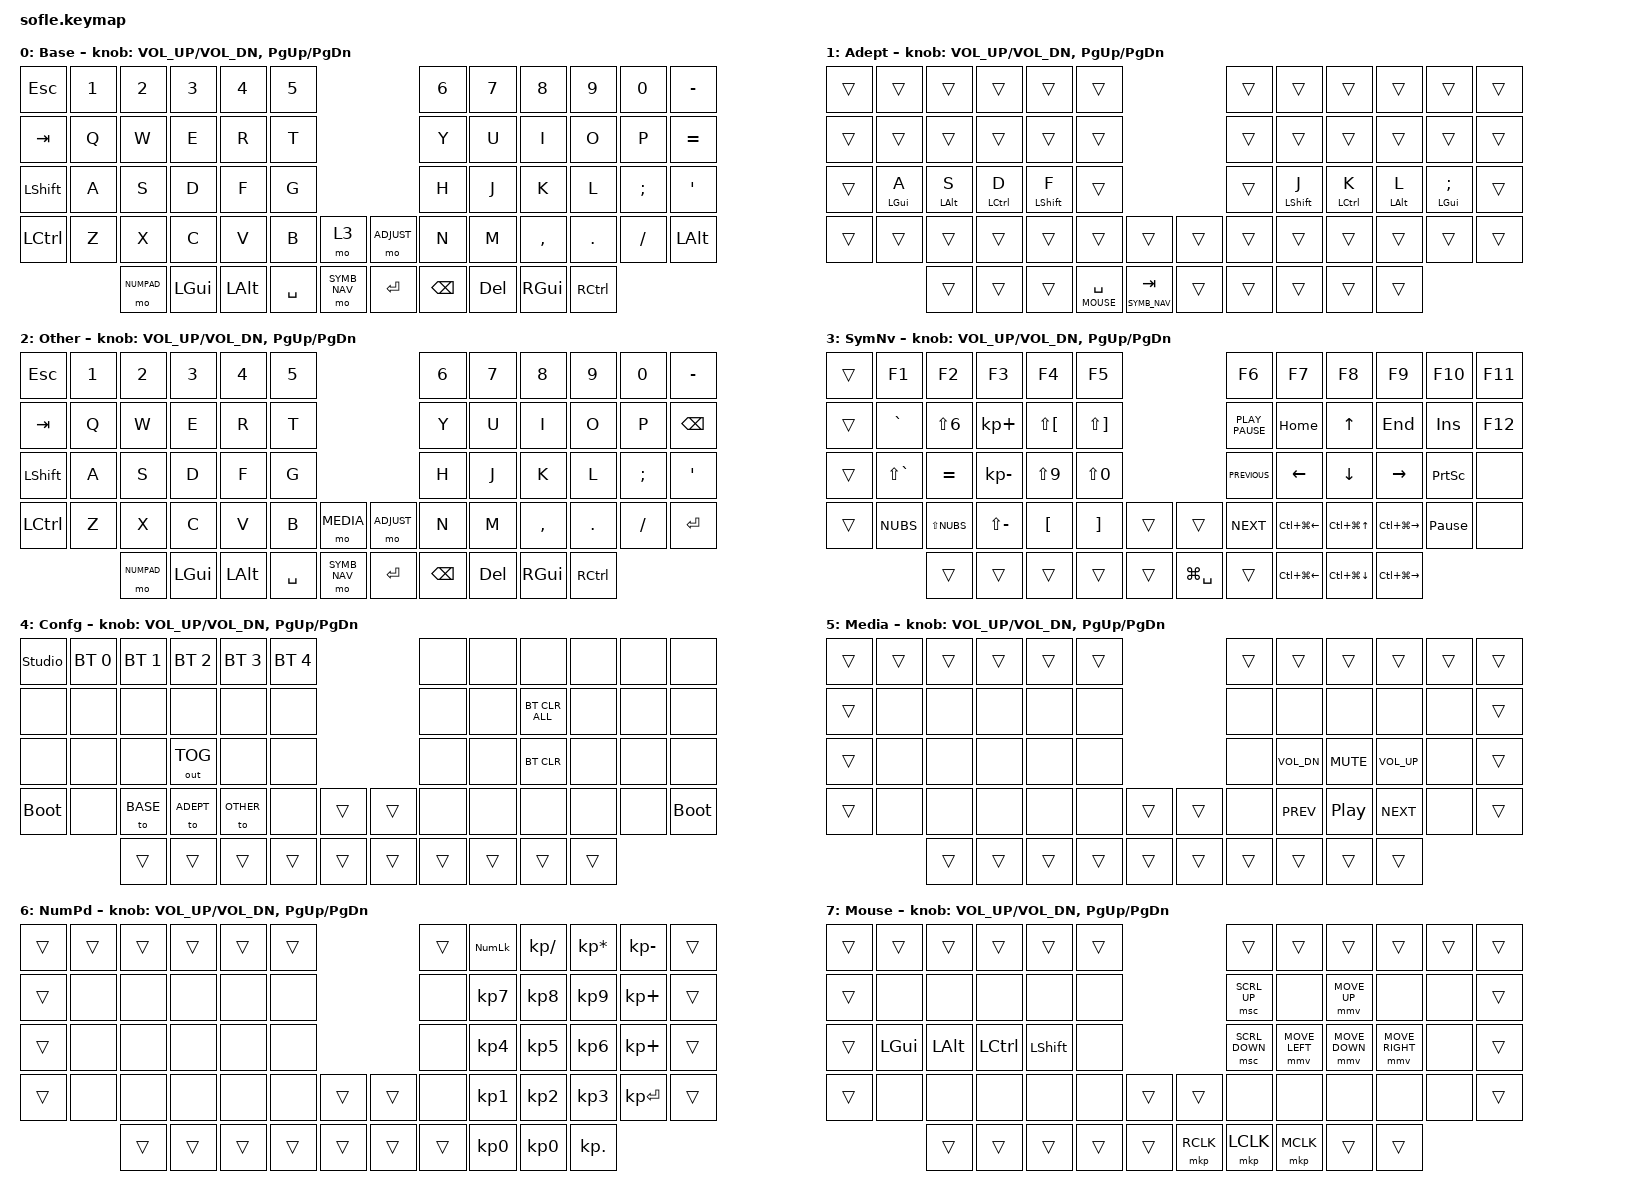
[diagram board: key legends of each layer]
/*
 * Copyright (c) 2020 The ZMK Contributors
 *
 * SPDX-License-Identifier: MIT
 */

#include <behaviors.dtsi>
#include <dt-bindings/zmk/bt.h>
#include <dt-bindings/zmk/keys.h>
#include <dt-bindings/zmk/outputs.h>
#include <dt-bindings/zmk/pointing.h>

// Enumera as camadas do teclado

#define BASE 0
#define ADEPT 1
#define OTHER 2
#define SYMB_NAV 3
#define ADJUST 4
#define MEDIA 5
#define NUMPAD 6
#define MOUSE 7

// ABNT2 keycodes
// Mapeamento de teclas ABNT2 que são usados para o layout brasileiro
// Inspired by https://github.com/qmk/qmk_firmware/blob/master/quantum/keymap_extras/keymap_brazilian_abnt2.h

#define BR_SLSH INT1
#define BR_ACUT LBKT
#define BR_RBKT NUHS
#define BR_RBCT LS(NUHS)
#define BR_LBKT RBKT
#define BR_LBCT LS(RBKT)

// Abaixo, há especificações do comportamento do tap-hold para teclas com duplo comportamento
// Para mais detalhes: https://zmk.dev/docs/keymaps/behaviors/hold-tap

#define TAPPING_TERM 300 // Tempo em milissegundos para diferenciar o tap-hold

// Para teclas com tap-hold em que o hold é um modificador, como CTRL, ALT, etc

&mt {
    tapping-term-ms = <TAPPING_TERM>;
    quick-tap-ms = <TAPPING_TERM>;
    flavor = "balanced"; // Pode ser "balanced", "hold-preferred" ou "tap-preferred"
};

// Para teclas com tap-hold em que o hold é uma mudança de camada, como SYMB_NAV, MEDIA, etc

&lt {
    tapping-term-ms = <TAPPING_TERM>;
    quick-tap-ms = <TAPPING_TERM>;
    flavor = "balanced"; // Pode ser "balanced", "hold-preferred" ou "tap-preferred"
};

// Combos do teclado

/ {
    combos {
        compatible = "zmk,combos";

        combo_dongle_bootloader {
            // Faz o dongle entrar em modo de bootloader, para gravacao do firmware

            timeout-ms = <30>; // Tempo de tolerancia para apertar as teclas ao mesmo tempo
            key-positions = <50 51 58 59>; // 2 primeiras e 2 ultimas teclas da linha de teclas mais abaixo do teclado
            bindings = <&bootloader>; // Tecla a ser simulada ao apertar a combinação acima
        };

        combo_unlock_zmk_studio {
            // Desbloqueia o ZMK Studio

            timeout-ms = <30>; // Tempo de tolerancia para apertar as teclas ao mesmo tempo
            key-positions = <50 59>; // primeira e última teclas da linha de teclas mais abaixo do teclado
            bindings = <&studio_unlock>; // Tecla a ser simulada ao apertar a combinação acima
        };
    };
};

// Mapeamento de teclas e camadas do teclado

/ {
    keymap {
        compatible = "zmk,keymap";

        // Uma cópia genérica do template de camada, que pode ser usada para criar novas camadas
        //        name_layer {
        //            display-name = "name";
        //            bindings = <
        //&trans    &trans    &trans    &trans      &trans    &trans                        &trans    &trans   &trans    &trans    &trans   &trans
        //&trans    &none     &none     &none       &none     &none                         &none     &none    &none     &none     &none    &trans
        //&trans    &none     &none     &none       &none     &none                         &none     &none    &none     &none     &none    &trans
        //&trans    &none     &none     &none       &none     &none      &trans    &trans   &none     &none    &none     &none     &none    &trans
        //                    &trans    &trans      &trans    &trans     &trans    &trans   &trans    &trans   &trans    &trans
        //            >;
        //
        //            sensor-bindings = <&inc_dec_kp C_VOL_UP C_VOL_DN &inc_dec_kp PG_UP PG_DN>; // Para o knob (encoder)
        //        };

        base_layer {
            display-name = "Base";
            bindings = <
&kp ESC    &kp N1  &kp N2      &kp N3    &kp N4    &kp N5                                 &kp N6    &kp N7   &kp N8     &kp N9     &kp N0    &kp MINUS
&kp TAB    &kp Q   &kp W       &kp E     &kp R     &kp T                                  &kp Y     &kp U    &kp I      &kp O      &kp P     &kp EQUAL
&kp LSHFT  &kp A   &kp S       &kp D     &kp F     &kp G                                  &kp H     &kp J    &kp K      &kp L      &kp SEMI  &kp SQT
&kp LCTRL  &kp Z   &kp X       &kp C     &kp V     &kp B      &mo 3           &mo ADJUST  &kp N     &kp M    &kp COMMA  &kp DOT    &kp FSLH  &kp LEFT_ALT
                   &mo NUMPAD  &kp LGUI  &kp LALT  &kp SPACE  &mo SYMB_NAV    &kp ENTER   &kp BSPC  &kp DEL  &kp RGUI   &kp RCTRL
            >;

            sensor-bindings = <&inc_dec_kp C_VOL_UP C_VOL_DN &inc_dec_kp PG_UP PG_DN>;
        };

        adept_layer {
            display-name = "Adept";
            bindings = <
&trans  &trans      &trans      &trans       &trans       &trans                                       &trans  &trans       &trans       &trans      &trans         &trans
&trans  &trans      &trans      &trans       &trans       &trans                                       &trans  &trans       &trans       &trans      &trans         &trans
&trans  &mt LGUI A  &mt LALT S  &mt LCTRL D  &mt LSHFT F  &trans                                       &trans  &mt LSHFT J  &mt LCTRL K  &mt LALT L  &mt LGUI SEMI  &trans
&trans  &trans      &trans      &trans       &trans       &trans           &trans              &trans  &trans  &trans       &trans       &trans      &trans         &trans
                    &trans      &trans       &trans       &lt MOUSE SPACE  &lt SYMB_NAV TAB    &trans  &trans  &trans       &trans       &trans
            >;

            sensor-bindings = <&inc_dec_kp C_VOL_UP C_VOL_DN &inc_dec_kp PG_UP PG_DN>;
        };

        // By defaults its equal to base_layer. To be customized by user.

        other_layer {
            display-name = "Other";
            bindings = <
&kp ESC    &kp N1  &kp N2      &kp N3    &kp N4    &kp N5                                 &kp N6    &kp N7   &kp N8     &kp N9     &kp N0    &kp MINUS
&kp TAB    &kp Q   &kp W       &kp E     &kp R     &kp T                                  &kp Y     &kp U    &kp I      &kp O      &kp P     &kp BSPC
&kp LSHFT  &kp A   &kp S       &kp D     &kp F     &kp G                                  &kp H     &kp J    &kp K      &kp L      &kp SEMI  &kp SQT
&kp LCTRL  &kp Z   &kp X       &kp C     &kp V     &kp B      &mo MEDIA       &mo ADJUST  &kp N     &kp M    &kp COMMA  &kp DOT    &kp FSLH  &kp ENTER
                   &mo NUMPAD  &kp LGUI  &kp LALT  &kp SPACE  &mo SYMB_NAV    &kp ENTER   &kp BSPC  &kp DEL  &kp RGUI   &kp RCTRL
            >;

            sensor-bindings = <&inc_dec_kp C_VOL_UP C_VOL_DN &inc_dec_kp PG_UP PG_DN>;
        };

        symb_nav_layer {
            display-name = "SymNv";
            bindings = <
&trans  &kp F1         &kp F2        &kp F3         &kp F4        &kp F5                                 &kp F6            &kp F7                  &kp F8                  &kp F9                   &kp F10          &kp F11
&trans  &kp GRAVE      &kp LS(N6)    &kp KP_PLUS    &kp LS(LBKT)  &kp LS(RBKT)                           &kp K_PLAY_PAUSE  &kp HOME                &kp UP                  &kp END                  &kp INS          &kp F12
&trans  &kp LS(GRAVE)  &kp EQUAL     &kp KP_MINUS   &kp LS(N9)    &kp LS(N0)                             &kp K_PREVIOUS    &kp LEFT                &kp DOWN                &kp RIGHT                &kp PSCRN        &none
&trans  &kp NUBS       &kp LS(NUBS)  &kp LS(MINUS)  &kp LBKT      &kp RBKT      &trans    &trans         &kp C_NEXT        &kp LC(LG(LEFT))        &kp LC(LG(UP_ARROW))    &kp LC(LG(RIGHT))        &kp PAUSE_BREAK  &none
                       &trans        &trans         &trans        &trans        &trans    &kp LG(SPACE)  &trans            &kp LC(LG(LEFT_ARROW))  &kp LC(LG(DOWN_ARROW))  &kp LC(LG(RIGHT_ARROW))
            >;

            sensor-bindings = <&inc_dec_kp C_VOL_UP C_VOL_DN &inc_dec_kp PG_UP PG_DN>;
        };

        adjust_layer {
            display-name = "Confg";
            bindings = <
&studio_unlock  &bt BT_SEL 0  &bt BT_SEL 1  &bt BT_SEL 2  &bt BT_SEL 3  &bt BT_SEL 4                    &none   &none   &none           &none   &none  &none
&none           &none         &none         &none         &none         &none                           &none   &none   &bt BT_CLR_ALL  &none   &none  &none
&none           &none         &none         &out OUT_TOG  &none         &none                           &none   &none   &bt BT_CLR      &none   &none  &none
&bootloader     &none         &to BASE      &to ADEPT     &to OTHER     &none         &trans    &trans  &none   &none   &none           &none   &none  &bootloader
                              &trans        &trans        &trans        &trans        &trans    &trans  &trans  &trans  &trans          &trans
            >;

            sensor-bindings = <&inc_dec_kp C_VOL_UP C_VOL_DN &inc_dec_kp PG_UP PG_DN>;
        };

        media_layer {
            display-name = "Media";
            bindings = <
&trans  &trans  &trans  &trans  &trans  &trans                    &trans  &trans        &trans      &trans        &trans  &trans
&trans  &none   &none   &none   &none   &none                     &none   &none         &none       &none         &none   &trans
&trans  &none   &none   &none   &none   &none                     &none   &kp C_VOL_DN  &kp C_MUTE  &kp C_VOL_UP  &none   &trans
&trans  &none   &none   &none   &none   &none   &trans    &trans  &none   &kp C_PREV    &kp C_PP    &kp C_NEXT    &none   &trans
                &trans  &trans  &trans  &trans  &trans    &trans  &trans  &trans        &trans      &trans
            >;

            sensor-bindings = <&inc_dec_kp C_VOL_UP C_VOL_DN &inc_dec_kp PG_UP PG_DN>;
        };

        numpad_layer {
            display-name = "NumPd";
            bindings = <
&trans  &trans  &trans  &trans  &trans  &trans                    &trans  &kp KP_NLCK  &kp KP_SLASH  &kp KP_ASTERISK  &kp KP_MINUS  &trans
&trans  &none   &none   &none   &none   &none                     &none   &kp KP_N7    &kp KP_N8     &kp KP_N9        &kp KP_PLUS   &trans
&trans  &none   &none   &none   &none   &none                     &none   &kp KP_N4    &kp KP_N5     &kp KP_N6        &kp KP_PLUS   &trans
&trans  &none   &none   &none   &none   &none   &trans    &trans  &none   &kp KP_N1    &kp KP_N2     &kp KP_N3        &kp KP_ENTER  &trans
                &trans  &trans  &trans  &trans  &trans    &trans  &trans  &kp KP_N0    &kp KP_N0     &kp KP_DOT
            >;

            sensor-bindings = <&inc_dec_kp C_VOL_UP C_VOL_DN &inc_dec_kp PG_UP PG_DN>;
        };

        mouse_layer {
            display-name = "Mouse";
            bindings = <
&trans  &trans    &trans    &trans     &trans     &trans                       &trans          &trans          &trans          &trans           &trans  &trans
&trans  &none     &none     &none      &none      &none                        &msc SCRL_UP    &none           &mmv MOVE_UP    &none            &none   &trans
&trans  &kp LGUI  &kp LALT  &kp LCTRL  &kp LSHFT  &none                        &msc SCRL_DOWN  &mmv MOVE_LEFT  &mmv MOVE_DOWN  &mmv MOVE_RIGHT  &none   &trans
&trans  &none     &none     &none      &none      &none   &trans    &trans     &none           &none           &none           &none            &none   &trans
                  &trans    &trans     &trans     &trans  &trans    &mkp RCLK  &mkp LCLK       &mkp MCLK       &trans          &trans
            >;

            sensor-bindings = <&inc_dec_kp C_VOL_UP C_VOL_DN &inc_dec_kp PG_UP PG_DN>;
        };

        // Extra layers, so it can be added and customized in ZMK Studio

        extra1 { status = "reserved"; };

        extra2 { status = "reserved"; };

        extra3 { status = "reserved"; };

        extra4 { status = "reserved"; };

        extra5 { status = "reserved"; };

        extra6 { status = "reserved"; };

        extra7 { status = "reserved"; };

        extra8 { status = "reserved"; };
    };
};
